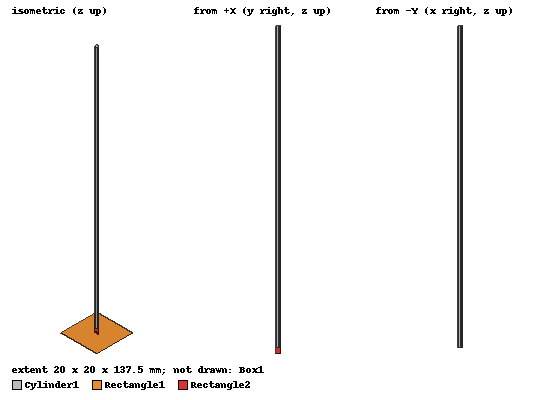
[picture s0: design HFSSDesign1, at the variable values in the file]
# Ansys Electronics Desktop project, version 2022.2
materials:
  vacuum: permittivity=1
  pec: conductivity=1e+30
  air: permittivity=1.0006 permeability=1.0000004

design HFSSDesign1 (HFSS, DrivenModal, model units mm)
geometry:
  Cylinder1 [pec] = cylinder(axis=Z, base_centre=(0mm, 0mm, 2.5mm), radius=0.9375mm, height=135mm)
  Rectangle1 = rectangle(corner=(-10mm, -10mm, 0mm), x_size=20mm, y_size=20mm)
  Rectangle2 = rectangle(corner=(0mm, -0.9375mm, 2.5mm), y_size=(.9375*2) mm, z_size=-2.5mm)
  Box1 [air] = box(corner=(200mm, 200mm, 200mm), size=(-400mm, -400mm, -400mm))
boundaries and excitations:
  PerfE1: Perfect E Objects=Rectangle1
  Rad1: Radiation Objects=Box1
  1: Lumped Port Objects=Rectangle2 Modes{Mode1{IntLine{(0, 0, 0) -> (0, 0, 2.5)} CharImp=Zpi RenormImp=50ohm}} Impedance=50ohm
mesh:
  initial mesh: GlobalSurfApproximation{CurvedSurfaceApproxChoice=UseSlider SliderMeshSettings=1}
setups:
  Setup1: HfssDriven Frequency=800MHz MaxDeltaS=0.02 MaximumPasses=20 MinimumPasses=1 MinimumConvergedPasses=1 PercentRefinement=30 BasisOrder=1 PortAccuracy=2 DrivenSolverType="Direct Solver"
    sweep Sweep: 400MHz to 1200MHz, 401 points; Type=Fast SaveFields
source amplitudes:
  1:1: 1W 0deg
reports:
  S Parameter Plot 1: dB(S(1,1)) vs Freq on Setup1 : Sweep
